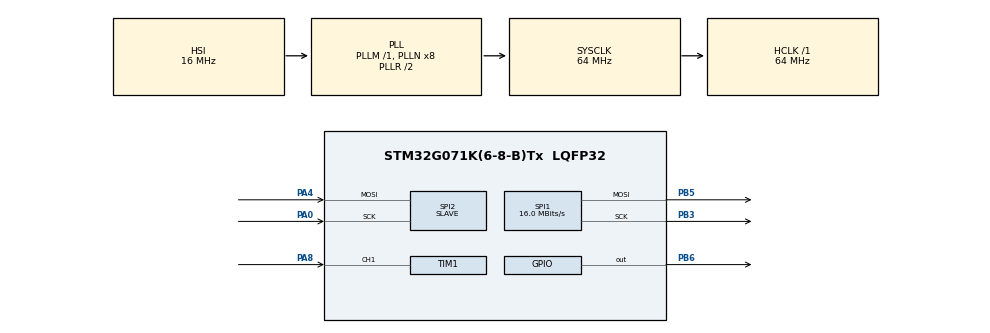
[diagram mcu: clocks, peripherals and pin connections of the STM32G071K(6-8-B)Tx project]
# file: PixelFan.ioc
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Dma.Request0=SPI1_TX
Dma.Request1=SPI2_RX
Dma.SPI1_TX.0.Direction=DMA_MEMORY_TO_PERIPH
Dma.SPI1_TX.0.EventEnable=DISABLE
Dma.SPI1_TX.0.Instance=DMA1_Channel1
Dma.SPI1_TX.0.MemDataAlignment=DMA_MDATAALIGN_BYTE
Dma.SPI1_TX.0.MemInc=DMA_MINC_ENABLE
Dma.SPI1_TX.0.Mode=DMA_NORMAL
Dma.SPI1_TX.0.PeriphDataAlignment=DMA_PDATAALIGN_BYTE
Dma.SPI1_TX.0.PeriphInc=DMA_PINC_DISABLE
Dma.SPI1_TX.0.Polarity=HAL_DMAMUX_REQ_GEN_RISING
Dma.SPI1_TX.0.Priority=DMA_PRIORITY_VERY_HIGH
Dma.SPI1_TX.0.RequestNumber=1
Dma.SPI1_TX.0.SignalID=NONE
Dma.SPI1_TX.0.SyncEnable=DISABLE
Dma.SPI1_TX.0.SyncPolarity=HAL_DMAMUX_SYNC_NO_EVENT
Dma.SPI1_TX.0.SyncRequestNumber=1
Dma.SPI1_TX.0.SyncSignalID=NONE
Dma.SPI2_RX.1.Direction=DMA_PERIPH_TO_MEMORY
Dma.SPI2_RX.1.EventEnable=DISABLE
Dma.SPI2_RX.1.Instance=DMA1_Channel2
Dma.SPI2_RX.1.MemDataAlignment=DMA_MDATAALIGN_BYTE
Dma.SPI2_RX.1.MemInc=DMA_MINC_ENABLE
Dma.SPI2_RX.1.Mode=DMA_NORMAL
Dma.SPI2_RX.1.PeriphDataAlignment=DMA_PDATAALIGN_HALFWORD
Dma.SPI2_RX.1.PeriphInc=DMA_PINC_DISABLE
Dma.SPI2_RX.1.Polarity=HAL_DMAMUX_REQ_GEN_RISING
Dma.SPI2_RX.1.Priority=DMA_PRIORITY_LOW
Dma.SPI2_RX.1.RequestNumber=1
Dma.SPI2_RX.1.SignalID=NONE
Dma.SPI2_RX.1.SyncEnable=DISABLE
Dma.SPI2_RX.1.SyncPolarity=HAL_DMAMUX_SYNC_NO_EVENT
Dma.SPI2_RX.1.SyncRequestNumber=1
Dma.SPI2_RX.1.SyncSignalID=NONE
Mcu.Family=STM32G0
Mcu.Name=STM32G071K(6-8-B)Tx
Mcu.Package=LQFP32
NVIC.DMA1_Channel1_IRQn=true\:1\:0\:true\:false\:true\:false\:true
NVIC.DMA1_Channel2_3_IRQn=true\:2\:0\:true\:false\:true\:false\:true
NVIC.SPI2_IRQn=true\:3\:0\:true\:false\:true\:true\:true
NVIC.TIM15_IRQn=true\:2\:0\:true\:false\:true\:true\:false
NVIC.TIM1_CC_IRQn=true\:0\:0\:true\:false\:true\:true\:false
PA0.Mode=RX_Only_Simplex_Unidirect_Slave
PA0.Signal=SPI2_SCK
PA4.Mode=RX_Only_Simplex_Unidirect_Slave
PA4.Signal=SPI2_MOSI
PA8.Signal=S_TIM1_CH1
PB3.Mode=TX_Only_Simplex_Unidirect_Master
PB3.Signal=SPI1_SCK
PB5.Mode=TX_Only_Simplex_Unidirect_Master
PB5.Signal=SPI1_MOSI
PB6.Signal=GPIO_Output
ProjectManager.HeapSize=0x200
ProjectManager.StackSize=0x400
ProjectManager.TargetToolchain=STM32CubeIDE
RCC.ADCFreq_Value=64000000
RCC.AHBFreq_Value=64000000
RCC.CortexFreq_Value=64000000
RCC.EXTERNAL_CLOCK_VALUE=48000
RCC.HCLKFreq_Value=64000000
RCC.HSE_VALUE=8000000
RCC.HSI_VALUE=16000000
RCC.LSE_VALUE=32768
RCC.SYSCLKFreq_VALUE=64000000
RCC.SYSCLKSource=RCC_SYSCLKSOURCE_PLLCLK
RCC.VCOOutputFreq_Value=128000000
SH.S_TIM1_CH1.0=TIM1_CH1,Input_Capture1_from_TI1
SPI1.BaudRatePrescaler=SPI_BAUDRATEPRESCALER_4
SPI1.CalculateBaudRate=16.0 MBits/s
SPI1.DataSize=SPI_DATASIZE_8BIT
SPI1.Direction=SPI_DIRECTION_2LINES
SPI1.Mode=SPI_MODE_MASTER
SPI1.VirtualType=VM_MASTER
SPI2.DataSize=SPI_DATASIZE_8BIT
SPI2.Direction=SPI_DIRECTION_2LINES_RXONLY
SPI2.Mode=SPI_MODE_SLAVE
SPI2.VirtualType=VM_SLAVE
TIM1.Channel-Input_Capture1_from_TI1=TIM_CHANNEL_1
TIM1.ICPolarity_CH1=TIM_INPUTCHANNELPOLARITY_RISING
TIM1.Period=0xFFFF
TIM1.Prescaler=127
TIM15.AutoReloadPreload=TIM_AUTORELOAD_PRELOAD_ENABLE
TIM15.Channel-Output\ Compare1\ No\ Output=TIM_CHANNEL_1
TIM15.ClockDivision=TIM_CLOCKDIVISION_DIV1
TIM15.Period=4700
TIM15.Prescaler=3
TIM15.Pulse-Output\ Compare1\ No\ Output=50
VP_SYS_VS_DBSignals.Mode=DisableDeadBatterySignals
VP_TIM15_VS_ClockSourceINT.Mode=Internal
VP_TIM15_VS_no_output1.Mode=Output Compare1 No Output
VP_TIM1_VS_ClockSourceINT.Mode=Internal
board=custom

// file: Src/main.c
/* USER CODE BEGIN Header */
/**
  ******************************************************************************
  * @file           : main.c
  * @brief          : Main program body
  ******************************************************************************
  * @attention
  *
  * <h2><center>&copy; Copyright (c) 2020 STMicroelectronics.
  * All rights reserved.</center></h2>
  *
  * This software component is licensed by ST under BSD 3-Clause license,
  * the "License"; You may not use this file except in compliance with the
  * License. You may obtain a copy of the License at:
  *                        opensource.org/licenses/BSD-3-Clause
  *
  ******************************************************************************
  */
/* USER CODE END Header */

#include "main.h"

/* USER CODE BEGIN Includes */
#include "SPI_DMA.h"
/* USER CODE END Includes */

SPI_HandleTypeDef hspi1;
SPI_HandleTypeDef hspi2;
DMA_HandleTypeDef hdma_spi1_tx;
DMA_HandleTypeDef hdma_spi2_rx;

TIM_HandleTypeDef htim1;
TIM_HandleTypeDef htim15;

/* USER CODE BEGIN PV */

#define LINES_PER_ROUND 180		//255
#define LINES_DIFF ((LINES_PER_ROUND / 3) * 26)
#define LEDS_PER_LINE 26
#define LINE_ZERO_OFFSET 95	     //lower values = rotate clockwise, bigger value = rotate counter clockwise
#define IMAGE_BUFF_SIZE LINES_PER_ROUND*LEDS_PER_LINE

uint8_t frameStart[4] = {0,0,0,0};
uint8_t frameEnd[8] = {0xFF,0xFF,0xFF,0xFF,0xFF,0xFF,0xFF,0xFF};
uint8_t ledBuff[IMAGE_BUFF_SIZE][4];
uint32_t line_index[3];

uint8_t state = 0;
uint8_t linePos = 0;
uint8_t dmaRunning = 0;
uint32_t globCnt = 0;
uint32_t regCnt = 0;
uint32_t periodAvg = 0;
volatile uint32_t roundComplete = 0;
volatile uint32_t roundSetToZero = 0;

/* USER CODE END PV */

void SystemClock_Config(void);
static void MX_GPIO_Init(void);
static void MX_DMA_Init(void);
static void MX_SPI1_Init(void);
static void MX_TIM15_Init(void);
static void MX_SPI2_Init(void);
static void MX_TIM1_Init(void);
/* USER CODE BEGIN PFP */
void HAL_TIM_PeriodElapsedCallback(TIM_HandleTypeDef *htim);
void HAL_SPI_TxCpltCallback(SPI_HandleTypeDef *hspi);
void clearAllLEDs();
/* USER CODE END PFP */

int main(void)
{
  /* USER CODE BEGIN 1 */

	//fill buffer:
	for(uint32_t i = 0; i < IMAGE_BUFF_SIZE; i++)
	{
		ledBuff[i][0] = 0xFF;
		if(i < (IMAGE_BUFF_SIZE/2) + 13)
		{
			ledBuff[i][1] = 6;
			ledBuff[i][2] = 0;
			ledBuff[i][3] = 0;
		}
		else
		{
			ledBuff[i][1] = 0;
			ledBuff[i][2] = 6;
			ledBuff[i][3] = 0;
		}
	}

	line_index[0] = 2*LINES_DIFF;
	line_index[1] = LINES_DIFF;
	line_index[2] = 0;

  /* USER CODE END 1 */

  /* MCU Configuration--------------------------------------------------------*/

  /* Reset of all peripherals, Initializes the Flash interface and the Systick. */
  HAL_Init();

  /* Configure the system clock */
  SystemClock_Config();

  /* Initialize all configured peripherals */
  MX_GPIO_Init();
  MX_DMA_Init();
  MX_SPI1_Init();
  MX_TIM15_Init();
  MX_SPI2_Init();
  MX_TIM1_Init();

  /* Infinite loop */
  /* USER CODE BEGIN WHILE */

  clearAllLEDs();

  HAL_Delay(100);

  spi2DmaStart((uint8_t*)ledBuff, IMAGE_BUFF_SIZE*4);	//Start DMA for receiving ESP Data

  HAL_TIM_Base_Start_IT(&htim15);

  HAL_TIM_Base_Start(&htim1);
  TIM1->DIER |= TIM_DIER_CC1IE;
  TIM1->CCER |= TIM_CCER_CC1E;
  TIM1->SMCR |= (0b101 << 4);	//TI1FP1 selected as trigger
  TIM1->SMCR |= 0b100;			//rising edge resets counter
  TIM1->CCMR1 |= (0b1111 << 4);//IC1F Filter
  TIM1->SR = 0;	//Clear all Interrupts

  //uint32_t oldGPIOA = 0;

  while (1)
  {
	  /*if((GPIOA->IDR & (1 << 8)))
	  {
		ledBuff[2][1] = 0;
		ledBuff[2][2] = 0;
		ledBuff[2][3] = 60;
	  }
	  else
	  {
		ledBuff[2][1] = 0;
		ledBuff[2][2] = 0;
		ledBuff[2][3] = 0;
	  }*/
/*
	  if((GPIOA->IDR & (1 << 8)) != oldGPIOA)
	  {
		  if(oldGPIOA != 0)
		  {

				//line_index[0] = 2*LINES_DIFF;
				//line_index[1] = LINES_DIFF;
				//line_index[2] = 0;
			  if(line_index[0] > IMAGE_BUFF_SIZE / 2)
			  {
				  if(TIM15->ARR < 420)
					  TIM15->ARR++;
			  }
			  else
			  {
				  if(TIM15->ARR > 400)
					  TIM15->ARR--;
			  }
		  }

		  oldGPIOA = GPIOA->IDR & (1 << 8);
	  }
*/
    /* USER CODE END WHILE */

  }
}

void SystemClock_Config(void)
{
  RCC_OscInitTypeDef RCC_OscInitStruct = {0};
  RCC_ClkInitTypeDef RCC_ClkInitStruct = {0};
  RCC_PeriphCLKInitTypeDef PeriphClkInit = {0};

  /** Configure the main internal regulator output voltage
  */
  HAL_PWREx_ControlVoltageScaling(PWR_REGULATOR_VOLTAGE_SCALE1);
  /** Initializes the CPU, AHB and APB busses clocks
  */
  RCC_OscInitStruct.OscillatorType = RCC_OSCILLATORTYPE_HSI;
  RCC_OscInitStruct.HSIState = RCC_HSI_ON;
  RCC_OscInitStruct.HSIDiv = RCC_HSI_DIV1;
  RCC_OscInitStruct.HSICalibrationValue = RCC_HSICALIBRATION_DEFAULT;
  RCC_OscInitStruct.PLL.PLLState = RCC_PLL_ON;
  RCC_OscInitStruct.PLL.PLLSource = RCC_PLLSOURCE_HSI;
  RCC_OscInitStruct.PLL.PLLM = RCC_PLLM_DIV1;
  RCC_OscInitStruct.PLL.PLLN = 8;
  RCC_OscInitStruct.PLL.PLLP = RCC_PLLP_DIV2;
  RCC_OscInitStruct.PLL.PLLQ = RCC_PLLQ_DIV2;
  RCC_OscInitStruct.PLL.PLLR = RCC_PLLR_DIV2;
  if (HAL_RCC_OscConfig(&RCC_OscInitStruct) != HAL_OK)
  {
    Error_Handler();
  }
  /** Initializes the CPU, AHB and APB busses clocks
  */
  RCC_ClkInitStruct.ClockType = RCC_CLOCKTYPE_HCLK|RCC_CLOCKTYPE_SYSCLK
                              |RCC_CLOCKTYPE_PCLK1;
  RCC_ClkInitStruct.SYSCLKSource = RCC_SYSCLKSOURCE_PLLCLK;
  RCC_ClkInitStruct.AHBCLKDivider = RCC_SYSCLK_DIV1;
  RCC_ClkInitStruct.APB1CLKDivider = RCC_HCLK_DIV1;

  if (HAL_RCC_ClockConfig(&RCC_ClkInitStruct, FLASH_LATENCY_2) != HAL_OK)
  {
    Error_Handler();
  }
  /** Initializes the peripherals clocks
  */
  PeriphClkInit.PeriphClockSelection = RCC_PERIPHCLK_TIM15|RCC_PERIPHCLK_TIM1;
  PeriphClkInit.Tim1ClockSelection = RCC_TIM1CLKSOURCE_PCLK1;
  PeriphClkInit.Tim15ClockSelection = RCC_TIM15CLKSOURCE_PCLK1;
  if (HAL_RCCEx_PeriphCLKConfig(&PeriphClkInit) != HAL_OK)
  {
    Error_Handler();
  }
}

static void MX_SPI1_Init(void)
{

  /* USER CODE BEGIN SPI1_Init 0 */
	__HAL_RCC_SPI1_CLK_ENABLE();
  /* USER CODE END SPI1_Init 0 */

  /* SPI1 parameter configuration*/
  hspi1.Instance = SPI1;
  hspi1.Init.Mode = SPI_MODE_MASTER;
  hspi1.Init.Direction = SPI_DIRECTION_2LINES;
  hspi1.Init.DataSize = SPI_DATASIZE_8BIT;
  hspi1.Init.CLKPolarity = SPI_POLARITY_LOW;
  hspi1.Init.CLKPhase = SPI_PHASE_1EDGE;
  hspi1.Init.NSS = SPI_NSS_SOFT;
  hspi1.Init.BaudRatePrescaler = SPI_BAUDRATEPRESCALER_4;
  hspi1.Init.FirstBit = SPI_FIRSTBIT_MSB;
  hspi1.Init.TIMode = SPI_TIMODE_DISABLE;
  hspi1.Init.CRCCalculation = SPI_CRCCALCULATION_DISABLE;
  hspi1.Init.CRCPolynomial = 7;
  hspi1.Init.CRCLength = SPI_CRC_LENGTH_DATASIZE;
  hspi1.Init.NSSPMode = SPI_NSS_PULSE_ENABLE;
  if (HAL_SPI_Init(&hspi1) != HAL_OK)
  {
    Error_Handler();
  }

}

static void MX_SPI2_Init(void)
{

  /* SPI2 parameter configuration*/
  hspi2.Instance = SPI2;
  hspi2.Init.Mode = SPI_MODE_SLAVE;
  hspi2.Init.Direction = SPI_DIRECTION_2LINES_RXONLY;
  hspi2.Init.DataSize = SPI_DATASIZE_8BIT;
  hspi2.Init.CLKPolarity = SPI_POLARITY_LOW;
  hspi2.Init.CLKPhase = SPI_PHASE_1EDGE;
  hspi2.Init.NSS = SPI_NSS_SOFT;
  hspi2.Init.FirstBit = SPI_FIRSTBIT_MSB;
  hspi2.Init.TIMode = SPI_TIMODE_DISABLE;
  hspi2.Init.CRCCalculation = SPI_CRCCALCULATION_DISABLE;
  hspi2.Init.CRCPolynomial = 7;
  hspi2.Init.CRCLength = SPI_CRC_LENGTH_DATASIZE;
  hspi2.Init.NSSPMode = SPI_NSS_PULSE_DISABLE;
  if (HAL_SPI_Init(&hspi2) != HAL_OK)
  {
    Error_Handler();
  }
  /* USER CODE BEGIN SPI2_Init 2 */
  //HAL_NVIC_SetPriority(SPI2_IRQn, 0, 0);
  //HAL_NVIC_EnableIRQ(SPI2_IRQn);

  //SPI2->CR2 |= SPI_CR2_RXNEIE;
  /* USER CODE END SPI2_Init 2 */

}

static void MX_TIM1_Init(void)
{

  /* USER CODE BEGIN TIM1_Init 0 */
	//__HAL_RCC_TIM1_CLK_ENABLE();
  /* USER CODE END TIM1_Init 0 */

  TIM_ClockConfigTypeDef sClockSourceConfig = {0};
  TIM_MasterConfigTypeDef sMasterConfig = {0};
  TIM_IC_InitTypeDef sConfigIC = {0};
  TIM_BreakDeadTimeConfigTypeDef sBreakDeadTimeConfig = {0};

  htim1.Instance = TIM1;
  htim1.Init.Prescaler = 127;
  htim1.Init.CounterMode = TIM_COUNTERMODE_UP;
  htim1.Init.Period = 0xFFFF;
  htim1.Init.ClockDivision = TIM_CLOCKDIVISION_DIV1;
  htim1.Init.RepetitionCounter = 0;
  htim1.Init.AutoReloadPreload = TIM_AUTORELOAD_PRELOAD_DISABLE;
  if (HAL_TIM_Base_Init(&htim1) != HAL_OK)
  {
    Error_Handler();
  }
  sClockSourceConfig.ClockSource = TIM_CLOCKSOURCE_INTERNAL;
  if (HAL_TIM_ConfigClockSource(&htim1, &sClockSourceConfig) != HAL_OK)
  {
    Error_Handler();
  }
  if (HAL_TIM_IC_Init(&htim1) != HAL_OK)
  {
    Error_Handler();
  }
  sMasterConfig.MasterOutputTrigger = TIM_TRGO_RESET;
  sMasterConfig.MasterOutputTrigger2 = TIM_TRGO2_RESET;
  sMasterConfig.MasterSlaveMode = TIM_MASTERSLAVEMODE_DISABLE;
  if (HAL_TIMEx_MasterConfigSynchronization(&htim1, &sMasterConfig) != HAL_OK)
  {
    Error_Handler();
  }
  sConfigIC.ICPolarity = TIM_INPUTCHANNELPOLARITY_RISING;
  sConfigIC.ICSelection = TIM_ICSELECTION_DIRECTTI;
  sConfigIC.ICPrescaler = TIM_ICPSC_DIV1;
  sConfigIC.ICFilter = 0;
  if (HAL_TIM_IC_ConfigChannel(&htim1, &sConfigIC, TIM_CHANNEL_1) != HAL_OK)
  {
    Error_Handler();
  }
  sBreakDeadTimeConfig.BreakAFMode = TIM_BREAK_AFMODE_INPUT;
  sBreakDeadTimeConfig.Break2AFMode = TIM_BREAK_AFMODE_INPUT;
  if (HAL_TIMEx_ConfigBreakDeadTime(&htim1, &sBreakDeadTimeConfig) != HAL_OK)
  {
    Error_Handler();
  }

}

static void MX_TIM15_Init(void)
{

  TIM_ClockConfigTypeDef sClockSourceConfig = {0};
  TIM_MasterConfigTypeDef sMasterConfig = {0};
  TIM_OC_InitTypeDef sConfigOC = {0};
  TIM_BreakDeadTimeConfigTypeDef sBreakDeadTimeConfig = {0};

  htim15.Instance = TIM15;
  htim15.Init.Prescaler = 3;
  htim15.Init.CounterMode = TIM_COUNTERMODE_UP;
  htim15.Init.Period = 4700;
  htim15.Init.ClockDivision = TIM_CLOCKDIVISION_DIV1;
  htim15.Init.RepetitionCounter = 0;
  htim15.Init.AutoReloadPreload = TIM_AUTORELOAD_PRELOAD_ENABLE;
  if (HAL_TIM_Base_Init(&htim15) != HAL_OK)
  {
    Error_Handler();
  }
  sClockSourceConfig.ClockSource = TIM_CLOCKSOURCE_INTERNAL;
  if (HAL_TIM_ConfigClockSource(&htim15, &sClockSourceConfig) != HAL_OK)
  {
    Error_Handler();
  }
  if (HAL_TIM_OC_Init(&htim15) != HAL_OK)
  {
    Error_Handler();
  }
  sMasterConfig.MasterOutputTrigger = TIM_TRGO_RESET;
  sMasterConfig.MasterSlaveMode = TIM_MASTERSLAVEMODE_DISABLE;
  if (HAL_TIMEx_MasterConfigSynchronization(&htim15, &sMasterConfig) != HAL_OK)
  {
    Error_Handler();
  }
  sConfigOC.OCMode = TIM_OCMODE_TIMING;
  sConfigOC.Pulse = 50;
  sConfigOC.OCPolarity = TIM_OCPOLARITY_HIGH;
  sConfigOC.OCNPolarity = TIM_OCNPOLARITY_HIGH;
  sConfigOC.OCFastMode = TIM_OCFAST_DISABLE;
  sConfigOC.OCIdleState = TIM_OCIDLESTATE_RESET;
  sConfigOC.OCNIdleState = TIM_OCNIDLESTATE_RESET;
  if (HAL_TIM_OC_ConfigChannel(&htim15, &sConfigOC, TIM_CHANNEL_1) != HAL_OK)
  {
    Error_Handler();
  }
  sBreakDeadTimeConfig.OffStateRunMode = TIM_OSSR_DISABLE;
  sBreakDeadTimeConfig.OffStateIDLEMode = TIM_OSSI_DISABLE;
  sBreakDeadTimeConfig.LockLevel = TIM_LOCKLEVEL_OFF;
  sBreakDeadTimeConfig.DeadTime = 0;
  sBreakDeadTimeConfig.BreakState = TIM_BREAK_DISABLE;
  sBreakDeadTimeConfig.BreakPolarity = TIM_BREAKPOLARITY_HIGH;
  sBreakDeadTimeConfig.BreakFilter = 0;
  sBreakDeadTimeConfig.AutomaticOutput = TIM_AUTOMATICOUTPUT_DISABLE;
  if (HAL_TIMEx_ConfigBreakDeadTime(&htim15, &sBreakDeadTimeConfig) != HAL_OK)
  {
    Error_Handler();
  }

}

static void MX_DMA_Init(void)
{

  /* DMA controller clock enable */
  __HAL_RCC_DMA1_CLK_ENABLE();

  /* DMA interrupt init */
  /* DMA1_Channel1_IRQn interrupt configuration */
  HAL_NVIC_SetPriority(DMA1_Channel1_IRQn, 1, 0);
  HAL_NVIC_EnableIRQ(DMA1_Channel1_IRQn);
  /* DMA1_Channel2_3_IRQn interrupt configuration */
  HAL_NVIC_SetPriority(DMA1_Channel2_3_IRQn, 2, 0);
  HAL_NVIC_EnableIRQ(DMA1_Channel2_3_IRQn);

}

static void MX_GPIO_Init(void)
{
  GPIO_InitTypeDef GPIO_InitStruct = {0};

  /* GPIO Ports Clock Enable */
  __HAL_RCC_GPIOA_CLK_ENABLE();
  __HAL_RCC_GPIOB_CLK_ENABLE();

  /*Configure GPIO pin Output Level */
  HAL_GPIO_WritePin(GPIOB, GPIO_PIN_6, GPIO_PIN_RESET);

  /*Configure GPIO pin : PB6 */
  GPIO_InitStruct.Pin = GPIO_PIN_6;
  GPIO_InitStruct.Mode = GPIO_MODE_OUTPUT_PP;
  GPIO_InitStruct.Pull = GPIO_NOPULL;
  GPIO_InitStruct.Speed = GPIO_SPEED_FREQ_LOW;
  HAL_GPIO_Init(GPIOB, &GPIO_InitStruct);

}

/* USER CODE BEGIN 4 */

void TIM15_PeriodElapsedCallback()
{
	HAL_GPIO_TogglePin(GPIOB, GPIO_PIN_6);

	//return;
	if(dmaRunning == 0)// && roundComplete == 0)
	{
		spiDmaStartTransmission(frameStart, 4);
		//HAL_SPI_Transmit_DMA(&hspi1, frameStart, 4);
		dmaRunning = 1;

		if(roundSetToZero == 1)
		{
			//if(line_index[2] - 2 > ((LEDS_PER_LINE*LINE_ZERO_OFFSET)-26) || line_index[2] + 2 < ((LEDS_PER_LINE*LINE_ZERO_OFFSET)-26))
			{
				line_index[2] = (LEDS_PER_LINE*LINE_ZERO_OFFSET)-26;
				line_index[0] = line_index[2] + 2*LINES_DIFF-26;
				line_index[1] = line_index[2] + LINES_DIFF-26;
			}
			roundSetToZero = 0;
		}
	}

}

void SPI_DMA_Irq()
{
	DMA1->IFCR |= DMA_IFCR_CTCIF1;		//clear interrupts
	DMA1->IFCR |= DMA_IFCR_CGIF1;		//clear interrupts
	DMA1->IFCR |= DMA_IFCR_CHTIF1;
	DMA1->IFCR |= DMA_IFCR_CTEIF1;

	if(state == 0)
	{
		spiDmaStartTransmission(&ledBuff[line_index[linePos]][0], (uint16_t)(4*26));

		linePos++;

		if(linePos == 3)
		{
			state = 1;
		}
	}
	else if(state == 1)
	{
		spiDmaStartTransmission(frameEnd, 5);
		state = 2;
	}
	else if(state == 2)
	{
		linePos = 0;
		state = 0;
		dmaRunning = 0;

		line_index[0]+=26;
		line_index[1]+=26;
		line_index[2]+=26;

		if(line_index[0] >= IMAGE_BUFF_SIZE) line_index[0] -= IMAGE_BUFF_SIZE;
		if(line_index[1] >= IMAGE_BUFF_SIZE) line_index[1] -= IMAGE_BUFF_SIZE;
		if(line_index[2] >= IMAGE_BUFF_SIZE) line_index[2] -= IMAGE_BUFF_SIZE;
	}

}

void SPI2_ESP_IRQ()
{
	static uint32_t pnt = 0;
	static uint32_t subPnt = 0;
	SPI2->CR1 |= SPI_CR1_SSI;
	uint8_t data;

	//ledBuff[oldSpiData][2] = 0;

	while(((SPI2->SR & SPI_SR_FRLVL) >> SPI_SR_FRLVL_Pos) > 0)
	{
		//read all Data
		data = SPI2->DR;

		ledBuff[pnt][subPnt] = data;

		subPnt++;

		if(subPnt == 4)
		{
			subPnt = 0;
			pnt++;

			if(pnt == IMAGE_BUFF_SIZE)
			{
				pnt = 0;
			}
		}
	}

	SPI2->CR1 &= ~SPI_CR1_SSI;
}

void TIM1_InputCapture_IRQ()
{
	//One round complete (Input Capture triggered from Hallsensor)

	uint32_t period = TIM1->CCR1;

	roundSetToZero = 1;

	periodAvg += period;

	regCnt++;
	if(regCnt == 32)
	{
		//periodAvg = (periodAvg << 0);	//Durch 32 für Mittelung, Mal 32 für gleiche Zeitbasis => Mal 1

		periodAvg /= LINES_PER_ROUND;

		if(periodAvg > 3500 && periodAvg < 65000)
		{
			TIM15->ARR = periodAvg-2;
			ledBuff[0][3] = 0;
			ledBuff[0][2] = 150;
		}
		else
		{
			ledBuff[0][2] = 0;
			ledBuff[0][3] = 150;
		}

		regCnt = 0;
		periodAvg = 0;
	}

}

void SPI2_DMA_Irq()	//SPI vom ESP
{
	//restart DMA
	spi2DmaStart((uint8_t*)ledBuff, IMAGE_BUFF_SIZE*4);
}

void clearAllLEDs()
{
	uint8_t tmpBuf[4] = {0,0,0,0};
	HAL_SPI_Transmit(&hspi1, tmpBuf, 4, HAL_MAX_DELAY);

	tmpBuf[0] = 0xFF;

	for(int i = 1; i <= 83; i++)
	{
	  HAL_SPI_Transmit(&hspi1, tmpBuf, 4, HAL_MAX_DELAY);
	}

	HAL_Delay(10);
}
/* USER CODE END 4 */

void Error_Handler(void)
{
}

/************************ (C) COPYRIGHT STMicroelectronics *****END OF FILE****/
